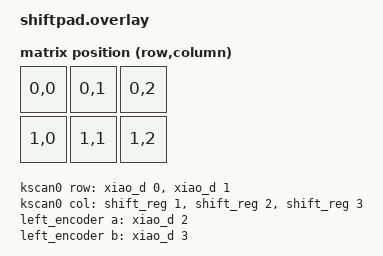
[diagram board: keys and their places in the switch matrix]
#include <dt-bindings/zmk/matrix_transform.h>

&xiao_spi {
    status = "okay";
    cs-gpios = <&xiao_d 7 GPIO_ACTIVE_LOW>;
    shift_reg: 595@0 {
        compatible = "zmk,gpio-595";
        status = "okay";
        gpio-controller;
        spi-max-frequency = <200000>;
        reg = <0>;
        label = "4HC595";
        #gpio-cells = <2>;
        ngpios = <8>;
    };
};

&xiao_serial { status = "disabled"; };

&xiao_i2c {
    status = "okay";

    oled: ssd1306@3c {
        compatible = "solomon,ssd1306fb";
        reg = <0x3c>;
        label = "DISPLAY";
        width = <128>;
        height = <64>;
        segment-offset = <0>;
        page-offset = <0>;
        display-offset = <0>;
        multiplex-ratio = <31>;
        segment-remap;
        com-invdir;
        com-sequential;
        prechargep = <0x22>;
    };
};

/ {
    chosen {
        zephyr,display = &oled;
        zmk,kscan = &kscan0;
        zmk,matrix_transform = &default_transform;
    };

    kscan0: kscan_0 {
        compatible = "zmk,kscan-gpio-matrix";
        label = "KSCAN";
        diode-direction = "col2row";

        col-gpios
            = <&shift_reg 1 (GPIO_ACTIVE_HIGH)>
            , <&shift_reg 2 (GPIO_ACTIVE_HIGH)>
            , <&shift_reg 3 (GPIO_ACTIVE_HIGH)>
            ;

        row-gpios
            = <&xiao_d 0 (GPIO_ACTIVE_HIGH | GPIO_PULL_DOWN)>
            , <&xiao_d 1 (GPIO_ACTIVE_HIGH | GPIO_PULL_DOWN)>
            ;
    };

    default_transform: keymap_transform_0 {
        compatible = "zmk,matrix-transform";
        columns = <3>;
        rows = <2>;
        map = <
RC(0,0) RC(0,1) RC(0,2)
RC(1,0) RC(1,1) RC(1,2)
        >;
    };

    left_encoder: encoder_left {
        compatible = "alps,ec11";
        label = "LEFT_ENCODER";
        a-gpios = <&xiao_d 2 (GPIO_ACTIVE_HIGH | GPIO_PULL_UP)>;
        b-gpios = <&xiao_d 3 (GPIO_ACTIVE_HIGH | GPIO_PULL_UP)>;
        steps = <80>;
        status = "disabled";
    };

    sensors: sensors {
        compatible = "zmk,keymap-sensors";
        sensors = <&left_encoder>;
        triggers-per-rotation = <20>;
    };
};

&left_encoder {
    status = "okay";
};
